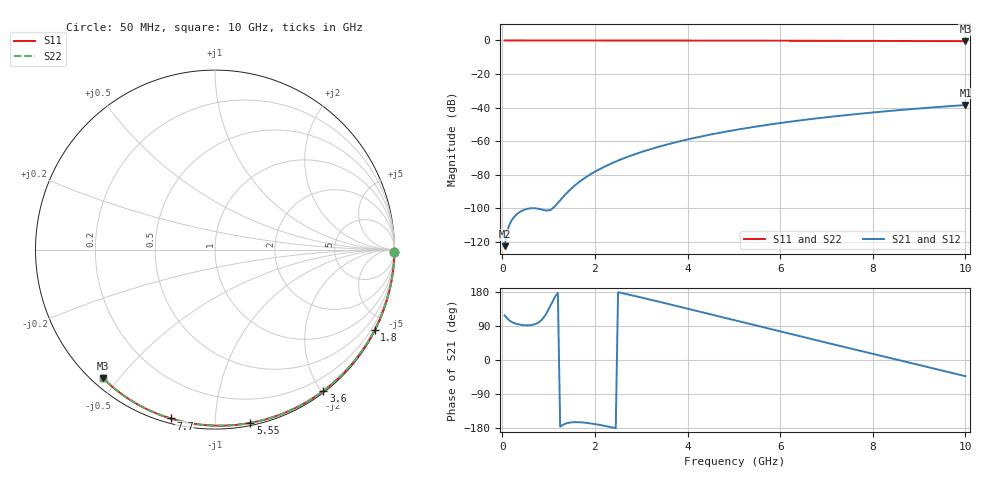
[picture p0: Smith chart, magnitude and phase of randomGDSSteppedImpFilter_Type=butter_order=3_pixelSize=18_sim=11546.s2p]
! freq	dB(S11)	phase(S11)	dB(S12)	phase(S12)
!  dB(S21)	phase(S21)	dB(S22)	phase(S22)
!S-par simulation data
#  GHz  S  DB  R 50
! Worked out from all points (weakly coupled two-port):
!   200 points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, 50 MHz to 10 GHz, reference 50 ohm
!   highest |S21| = -38.44 dB at 10 GHz (marker M1); lowest = -122.5 dB at 50 MHz (marker M2)
!   lowest |S11| = -0.4 dB at 10 GHz (marker M3), VSWR 38.85, Z = 1.55 - j22.7 ohm
!   |S11| at or under -10 dB: nowhere
!   |S22| runs from -0.4 to 0.0 dB; largest |S21 - S12| = 0
!   S11 on the Smith chart (normalised r, x): 50 MHz: open; 1.8 GHz: 0.04, -4.19; 3.6 GHz: 0.02, -2.03; 5.55 GHz: 0.02, -1.23; 7.7 GHz: 0.02, -0.77; 10 GHz: 0.03, -0.45
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0.05  -0.00 -0.8  -122.46 117.5  -122.46 117.5  -0.00 -0.8
0.45  -0.01 -6.8  -101.06 92.1  -101.06 92.1  -0.01 -6.8
0.9  -0.02 -13.6  -101.01 113.3  -101.01 113.3  -0.02 -13.6
1.75  -0.03 -26.1  -82.45 -165.0  -82.45 -165.0  -0.03 -26.1
1.8  -0.03 -26.9  -81.51 -165.6  -81.51 -165.6  -0.03 -26.9
1.9  -0.04 -28.3  -79.76 -167.2  -79.76 -167.2  -0.04 -28.3
2.05  -0.04 -30.5  -77.37 -170.2  -77.37 -170.2  -0.04 -30.5
2.25  -0.04 -33.4  -74.57 -174.8  -74.57 -174.8  -0.04 -33.4
2.45  -0.05 -36.3  -72.09 -179.9  -72.09 -179.9  -0.05 -36.3
2.65  -0.05 -39.1  -69.86 174.8  -69.86 174.8  -0.05 -39.1
3  -0.06 -44.1  -66.46 164.9  -66.46 164.9  -0.06 -44.1
3.4  -0.07 -49.7  -63.12 153.3  -63.12 153.3  -0.07 -49.7
3.6  -0.07 -52.5  -61.63 147.4  -61.63 147.4  -0.07 -52.5
4.3  -0.09 -62.1  -57.12 126.5  -57.12 126.5  -0.09 -62.1
5.05  -0.11 -72.0  -53.19 104.0  -53.19 104.0  -0.11 -72.0
5.55  -0.13 -78.4  -50.95 88.9  -50.95 88.9  -0.13 -78.4
6.1  -0.15 -85.4  -48.77 72.5  -48.77 72.5  -0.15 -85.4
6.7  -0.18 -92.8  -46.67 54.6  -46.67 54.6  -0.18 -92.8
7.7  -0.24 -104.7  -43.67 25.0  -43.67 25.0  -0.24 -104.7
8.35  -0.29 -112.3  -41.99 6.0  -41.99 6.0  -0.29 -112.3
9.15  -0.36 -121.5  -40.15 -17.5  -40.15 -17.5  -0.36 -121.5
10  -0.45 -131.0  -38.44 -42.8  -38.44 -42.8  -0.45 -131.0
